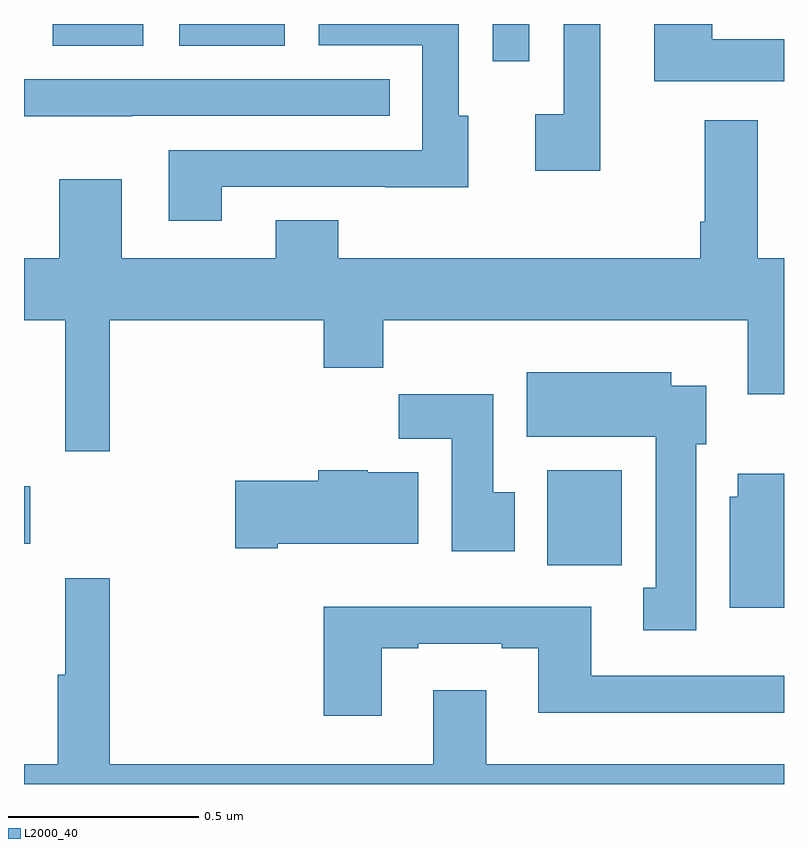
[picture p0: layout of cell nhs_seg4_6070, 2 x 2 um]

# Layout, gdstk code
import gdstk
lib = gdstk.Library(unit=1e-6, precision=1e-09)
def R(c, l, rs):  # rectangles x0, y0, x1, y1
    for r in rs: c.add(gdstk.rectangle(r[:2], r[2:], *l))
def P(c, l, *ps):  # polygons
    for p in ps: c.add(gdstk.Polygon(p, *l))
L2000_40 = (2000, 40)

nhs_seg4_6070 = lib.new_cell('nhs_seg4_6070')
R(nhs_seg4_6070, L2000_40, [(186.377,829.476,186.573,829.726), (185,829.532,185.017,829.684), (186.234,830.802,186.33,830.9), (185.075,830.843,185.314,830.9), (185.408,830.843,185.686,830.9)])
P(nhs_seg4_6070, L2000_40, [(185.521,830.472),(185.951,830.472),(185.951,830.471),(186.169,830.471),(186.169,830.658),(186.144,830.658),(186.144,830.9),(185.775,830.9),(185.775,830.844),(186.048,830.844),(186.048,830.568),(185.381,830.568),(185.381,830.382),(185.521,830.382)],
  [(187,830.86),(186.811,830.86),(186.811,830.9),(186.659,830.9),(186.659,830.75),(187,830.75)],
  [(186.517,830.9),(186.42,830.9),(186.42,830.662),(186.345,830.662),(186.345,830.514),(186.517,830.514)],
  [(185.285,830.658),(185.963,830.658),(185.963,830.754),(185,830.754),(185,830.657),(185.285,830.657)],
  [(185.225,830.12),(185.789,830.12),(185.789,829.996),(185.945,829.996),(185.945,830.12),(186.905,830.12),(186.905,829.926),(187,829.926),(187,830.284),(186.931,830.284),(186.931,830.647),(186.791,830.647),(186.791,830.38),(186.779,830.38),(186.779,830.284),(185.827,830.284),(185.827,830.383),(185.663,830.383),(185.663,830.284),(185.257,830.284),(185.257,830.491),(185.093,830.491),(185.093,830.284),(185,830.284),(185,830.12),(185.108,830.12),(185.108,829.776),(185.225,829.776)],
  [(186.769,829.794),(186.796,829.794),(186.796,829.948),(186.703,829.948),(186.703,829.984),(186.323,829.984),(186.323,829.814),(186.662,829.814),(186.662,829.417),(186.629,829.417),(186.629,829.305),(186.769,829.305)],
  [(186.292,829.668),(186.235,829.668),(186.235,829.926),(185.986,829.926),(185.986,829.808),(186.125,829.808),(186.125,829.512),(186.292,829.512)],
  [(185.668,829.532),(186.037,829.532),(186.037,829.72),(185.904,829.72),(185.904,829.726),(185.774,829.726),(185.774,829.698),(185.556,829.698),(185.556,829.52),(185.668,829.52)],
  [(187,829.717),(186.878,829.717),(186.878,829.656),(186.857,829.656),(186.857,829.364),(187,829.364)],
  [(187,828.952),(186.217,828.952),(186.217,829.147),(186.077,829.147),(186.077,828.952),(185.225,828.952),(185.225,829.441),(185.108,829.441),(185.108,829.188),(185.089,829.188),(185.089,828.952),(185,828.952),(185,828.9),(187,828.9)],
  [(185.941,829.257),(186.037,829.257),(186.037,829.269),(186.257,829.269),(186.257,829.257),(186.353,829.257),(186.353,829.088),(187,829.088),(187,829.185),(186.493,829.185),(186.493,829.366),(185.789,829.366),(185.789,829.08),(185.941,829.08)])

lib.write_gds('nhs_seg4_6070.gds')
